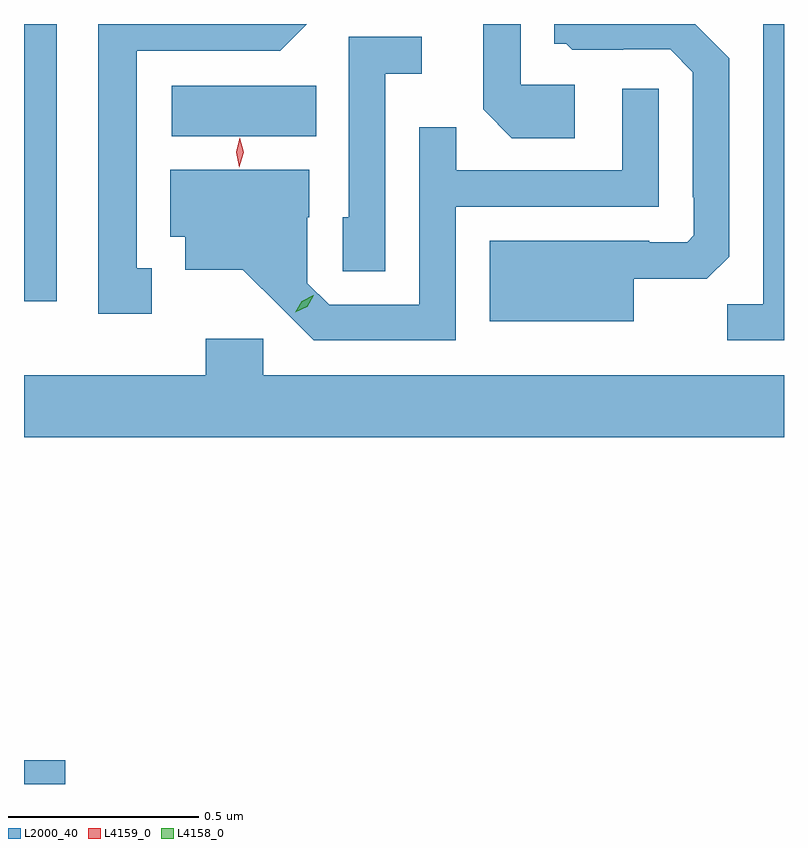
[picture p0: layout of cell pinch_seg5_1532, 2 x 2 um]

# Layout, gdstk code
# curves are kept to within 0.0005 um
import gdstk
lib = gdstk.Library(unit=1e-6, precision=1e-09)
def R(c, l, rs):  # rectangles x0, y0, x1, y1
    for r in rs: c.add(gdstk.rectangle(r[:2], r[2:], *l))
def P(c, l, *ps):  # polygons
    for p in ps: c.add(gdstk.Polygon(p, *l))
L2000_40 = (2000, 40)
L4158_0 = (4158, 0)
L4159_0 = (4159, 0)

pinch_seg5_1532 = lib.new_cell('pinch_seg5_1532')
R(pinch_seg5_1532, L2000_40, [(124.111,891.812,124.219,891.875), (124.111,893.082,124.197,893.812), (124.5,893.516,124.88,893.65)])
P(pinch_seg5_1532, L2000_40, [(124.447,893.169),(124.408,893.169),(124.408,893.742),(124.785,893.742),(124.855,893.812),(124.307,893.812),(124.307,893.049),(124.447,893.049)],
  [(125.56,893.652),(125.418,893.652),(125.418,893.812),(125.319,893.812),(125.319,893.588),(125.395,893.512),(125.56,893.512)],
  [(126.111,893.812),(126.057,893.812),(126.057,893.075),(125.962,893.075),(125.962,892.98),(126.111,892.98)],
  [(125.716,893.141),(125.908,893.141),(125.967,893.2),(125.967,893.722),(125.878,893.812),(125.507,893.812),(125.507,893.76),(125.538,893.76),(125.554,893.744),(125.688,893.744),(125.688,893.745),(125.811,893.745),(125.871,893.685),(125.871,893.356),(125.874,893.356),(125.874,893.256),(125.856,893.238),(125.756,893.238),(125.756,893.242),(125.336,893.242),(125.336,893.03),(125.716,893.03)],
  [(125.061,893.681),(125.158,893.681),(125.158,893.778),(124.965,893.778),(124.965,893.304),(124.95,893.304),(124.95,893.161),(125.061,893.161)],
  [(125.247,893.331),(125.781,893.331),(125.781,893.641),(125.685,893.641),(125.685,893.427),(125.249,893.427),(125.249,893.54),(125.151,893.54),(125.151,893.073),(124.914,893.073),(124.857,893.13),(124.857,893.304),(124.861,893.304),(124.861,893.428),(124.496,893.428),(124.496,893.252),(124.535,893.252),(124.535,893.165),(124.687,893.165),(124.874,892.98),(125.247,892.98)],
  [(126.111,892.888),(124.74,892.888),(124.74,892.984),(124.589,892.984),(124.589,892.888),(124.111,892.888),(124.111,892.724),(126.111,892.724)])
P(pinch_seg5_1532, L4158_0, [(124.825,893.053),(124.825,893.053),(124.842,893.082),(124.872,893.098),(124.873,893.098),(124.873,893.098),(124.856,893.068),(124.825,893.053)])
P(pinch_seg5_1532, L4159_0, [(124.678,893.435),(124.678,893.435),(124.669,893.474),(124.679,893.513),(124.679,893.513),(124.679,893.513),(124.689,893.474),(124.678,893.435)])

lib.write_gds('pinch_seg5_1532.gds')
